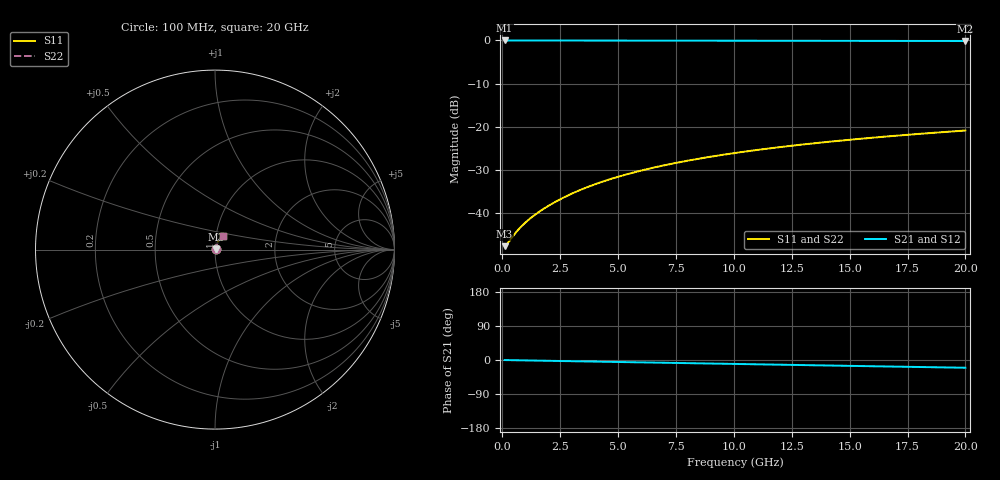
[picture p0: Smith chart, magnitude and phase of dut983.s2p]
! Touchstone file exported from HFSS 2026.1.0
!  File:  C:/ffzhzh/LocalFiles/Ansys_Project_Files/temp_train_BSMRDL_983_1783172803_18472.aedt
!  Generated:  09:47:47 PM Jul  4, 2026
!  Design:  BSMRDL
!  Project:  temp_train_BSMRDL_983_1783172803_18472
! Variables:
!  h_bsmrdl = 3.16um
!  h_ox = 20um
!  h_rdl = 5um
!  h_sub = 80um
!  h_tmrdl = 5um
!  h_tsv = 80um
!  h_via = 3um
!  l_bsmrdl = 358.06um
!  l_sub = 758.06um
!  l_tmrdl = 200um
!  m_sub = 200um
!  pitch = 14.98um
!  r_tsv = 6um
!  s_tmrdl = 10um
!  w_bsmrdl = 10.09um
!  w_sub = 500um
!  w_tmrdl = 12um
!  x_tsv_center1 = 206um
!  x_tsv_center2 = 574.15um
!  x_tsv_center3 = 786.15um
!  x_tsv_center4 = 1154.3um
!  x_tsv_center5 = 1366.3um
!  x_tsv_center6 = 1734.45um
# GHz S MA R 50.000000
! Terminal data exported
! Port[1] = BSM_RDL1_1_T1
! Port[2] = BSM_RDL1_1_T2
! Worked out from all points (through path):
!   200 points, 100 MHz to 20 GHz, reference 50 ohm
!   highest |S21| = -0.04 dB at 100 MHz (marker M1); lowest = -0.2 dB at 20 GHz (marker M2)
!   group delay of S21, straight-line fit = 2.83 ps
!   lowest |S11| = -47.6 dB at 100 MHz (marker M3), VSWR 1.01, Z = 50.4 + j0.0727 ohm
!   |S11| at or under -10 dB: start of sweep to end of sweep
!   |S22| runs from -47.6 to -20.9 dB; largest |S21 - S12| = 2.1e-15
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0.1  0.004147 10.0  0.9959 -0.1  0.9959 -0.1  0.004147 10.0
! Gamma 0 0 0 0
! Port Impedance 50 0 50 0
0.2  0.004388 18.5  0.9958 -0.2  0.9958 -0.2  0.004398 18.5
0.6  0.006028 39.0  0.9953 -0.7  0.9953 -0.7  0.006026 38.9
0.8  0.006919 44.3  0.995 -0.9  0.995 -0.9  0.006915 44.2
1.1  0.008225 50.0  0.9948 -1.2  0.9948 -1.2  0.008221 49.9
1.4  0.009522 54.2  0.9946 -1.5  0.9946 -1.5  0.009519 54.2
1.9  0.01173 59.4  0.9943 -2.0  0.9943 -2.0  0.01173 59.4
2.4  0.014 62.9  0.9941 -2.6  0.9941 -2.6  0.014 62.9
2.9  0.01633 65.4  0.9939 -3.1  0.9939 -3.1  0.01633 65.4
3.5  0.01918 67.3  0.9936 -3.7  0.9936 -3.7  0.01918 67.3
4.2  0.02252 68.7  0.9933 -4.4  0.9933 -4.4  0.02252 68.7
5  0.02635 69.6  0.9928 -5.3  0.9928 -5.3  0.02635 69.6
5.9  0.03063 70.0  0.9922 -6.2  0.9922 -6.2  0.03063 70.0
6.8  0.03487 69.9  0.9916 -7.1  0.9916 -7.1  0.03487 69.9
7.5  0.03813 69.7  0.9911 -7.9  0.9911 -7.9  0.03813 69.7
8.3  0.04181 69.4  0.9905 -8.7  0.9905 -8.7  0.04181 69.4
10.1  0.04989 68.3  0.9891 -10.5  0.9891 -10.5  0.04989 68.3
11.7  0.05686 67.1  0.9878 -12.2  0.9878 -12.2  0.05686 67.1
13.4  0.06406 65.8  0.9864 -13.9  0.9864 -13.9  0.06406 65.7
15  0.07066 64.5  0.9851 -15.5  0.9851 -15.5  0.07066 64.4
16.7  0.0775 63.0  0.9838 -17.2  0.9838 -17.2  0.0775 63.0
20  0.09034 60.3  0.9813 -20.5  0.9813 -20.5  0.09034 60.2
